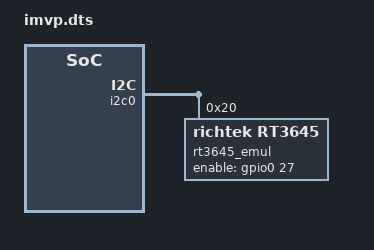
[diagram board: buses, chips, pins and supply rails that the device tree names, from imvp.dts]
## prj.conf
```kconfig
# Copyright 2026 The ChromiumOS Authors
# Use of this source code is governed by a BSD-style license that can be
# found in the LICENSE file.

CONFIG_IMVP_RT3645_CONSOLE=y
CONFIG_SHELL_BACKEND_DUMMY_BUF_SIZE=4000
```

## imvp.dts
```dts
/* Copyright 2025 The ChromiumOS Authors
 * Use of this source code is governed by a BSD-style license that can be
 * found in the LICENSE file.
 */

&i2c0 {
	rt3645_emul: richtek-imvp@20 {
		compatible = "richtek,rt3645";
		status = "okay";
		reg = <0x20>;
		enable-gpios = <&gpio0 27 GPIO_ACTIVE_HIGH>;
		update-data = <0x24 0x54 0x02 0x0D1312>;
		update-crc = <0x12>;
	};
};
```

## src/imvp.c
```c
/* Copyright 2026 The ChromiumOS Authors
 * Use of this source code is governed by a BSD-style license that can be
 * found in the LICENSE file.
 */

#include "console.h"
#include "drivers/imvp/rt3645.h"
#include "emul/emul_rt3645.h"
#include "power.h"
#include "test/drivers/test_state.h"
#include "timer.h"

#include <stdlib.h>
#include <time.h>

#include <zephyr/fff.h>
#include <zephyr/random/random.h>
#include <zephyr/shell/shell.h>
#include <zephyr/shell/shell_dummy.h>
#include <zephyr/ztest.h>

#define RT3645_PORT 0
#define RT3645_NODE DT_NODELABEL(rt3645_emul)

extern int rt3645_get_flag(int port);

const struct emul *emul = EMUL_DT_GET(RT3645_NODE);
const struct device *dev = DEVICE_DT_GET(RT3645_NODE);

void rt3645_imvp_test_reset(void *fixture);

struct rt3645_data_t {
	uint8_t cur_page;
};

#define RT3645_PAGE_MAX 0x0D

/* Generate random non-zero page number */
#define RT3645_GEN_RAND_PAGE() ((rand() % RT3645_PAGE_MAX) + 1);

/* Generate random non-zero register value */
#define RT3645_GEN_RAND_REG_VAL() ((rand() % 0xFF) + 1);
/**
 * @brief Send correct sequence to RT3645 and set it in config mode
 *
 * @retval 0 if successful, otherwise if it fails
 */
int rt3645_imvp_set_in_config_mode(void)
{
	return shell_execute_cmd(get_ec_shell(),
				 "imvp cfg_mode 0x24 0x54 0x02");
}

ZTEST(rt3645_imvp, test_product_id)
{
	uint8_t reg_val;

	rt3645_emul_read_reg(emul, PRODUCT_ID_REG, &reg_val);
	zassert_equal(reg_val, 0x45);
}

ZTEST(rt3645_imvp, test_config_mode)
{
	zassert_false(rt3645_emul_in_config_mode(emul));

	/* Setting wrong pattern length */
	zassert_ok(shell_execute_cmd(get_ec_shell(), "imvp cfg_mode 0x24 0x54"),
		   NULL);
	zassert_ok(rt3645_set_page(dev, 4));
	zassert_false(rt3645_emul_in_config_mode(emul));

	/* Setting wrong pattern */
	zassert_ok(shell_execute_cmd(get_ec_shell(),
				     "imvp cfg_mode 0x24 0x54 0x03"),
		   NULL);
	zassert_false(rt3645_emul_in_config_mode(emul));

	/* Set register to reset internal device counter */
	zassert_ok(rt3645_set_page(dev, 4));

	/* Setting correct pattern out of G3/S5 */
	power_set_state(POWER_S0);
	zassert_not_ok(rt3645_imvp_set_in_config_mode());

	/* Setting correct pattern */
	power_set_state(POWER_S5);
	zassert_ok(rt3645_imvp_set_in_config_mode());
	zassert_true(rt3645_emul_in_config_mode(emul));
}

/**
 * @brief Write registers into RT3645 page using console command
 *
 * @param  page Number of page to write registers
 * @param  regs Array holding registers value to be written into device, if set
 *              to NULL, only page number is set.
 * @param  count Number of bytes to be written, if set to 0, only page number
 *               is set.
 *
 * @retval 0 if successful, otherwise if it fails
 */
int rt3645_imvp_test_fill_page_regs(uint8_t page, uint8_t *regs, uint8_t count)
{
	int ret;
	char set_page_cmd_in[32] = { 0 };
	char set_regs_cmd_in[128] = { 0 };
	char reg_val_str_in[6] = { 0 };
	const char *set_reg_cmd = "imvp set_regs 0";
	const char *set_page_cmd = "imvp set_page 0x%X";
	const char *set_reg_cat = " 0x%X";

	sprintf(set_page_cmd_in, set_page_cmd, page);
	ret = shell_execute_cmd(get_ec_shell(), set_page_cmd_in);
	if (ret) {
		return ret;
	}

	if (regs == NULL || count == 0) {
		/* Not required to write any registers, just page */
		return 0;
	}

	strcpy(set_regs_cmd_in, set_reg_cmd);
	for (int i = 0; i < count; i++) {
		reg_val_str_in[0] = '\0';
		sprintf(reg_val_str_in, set_reg_cat, regs[i]);
		strcat(set_regs_cmd_in, reg_val_str_in);
	}

	return shell_execute_cmd(get_ec_shell(), set_regs_cmd_in);
}

ZTEST(rt3645_imvp, test_page_setting)
{
	uint8_t page_in;
	uint8_t page_out;

	zassert_ok(rt3645_imvp_set_in_config_mode());
	zassert_true(rt3645_emul_in_config_mode(emul));

	rt3645_emul_read_reg(emul, PAGE_SET_REG, &page_out);
	zassert_equal(page_out, 0);

	/* Generate random page */
	page_in = RT3645_GEN_RAND_PAGE();

	/* Attempt to change page while out of G3/S5 */
	power_set_state(POWER_S0);
	zassert_not_ok(rt3645_imvp_test_fill_page_regs(page_in, NULL, 0));
	zassert_ok(rt3645_emul_read_reg(emul, PAGE_SET_REG, &page_out));
	zassert_not_equal(page_in, page_out);

	power_set_state(POWER_G3);
	zassert_ok(rt3645_imvp_test_fill_page_regs(page_in, NULL, 0));
	zassert_ok(rt3645_emul_read_reg(emul, PAGE_SET_REG, &page_out));
	zassert_equal(page_in, page_out);
}

#define RT3654_IMVP_TEST_SET_REGS_COUNT 5

ZTEST(rt3645_imvp, test_setting_page_regs)
{
	uint8_t page_in;
	uint8_t regs_in[RT3654_IMVP_TEST_SET_REGS_COUNT];

	/* Set random page and generate random registers value */
	page_in = RT3645_GEN_RAND_PAGE();
	for (int i = 0; i < RT3654_IMVP_TEST_SET_REGS_COUNT; i++) {
		regs_in[i] = RT3645_GEN_RAND_REG_VAL();
	}

	zassert_ok(rt3645_imvp_test_fill_page_regs(
		page_in, regs_in, RT3654_IMVP_TEST_SET_REGS_COUNT));

	/* Test setting registers while not in config mode */
	for (int i = 0; i < RT3654_IMVP_TEST_SET_REGS_COUNT; i++) {
		uint8_t reg_out;

		zassert_ok(rt3645_emul_read_reg(emul, i, &reg_out));
		zassert_not_equal(reg_out, regs_in[i]);
	}

	/* Enter config mode */
	zassert_ok(rt3645_imvp_set_in_config_mode());
	zassert_true(rt3645_emul_in_config_mode(emul));
	zassert_ok(rt3645_imvp_test_fill_page_regs(
		page_in, regs_in, RT3654_IMVP_TEST_SET_REGS_COUNT));

	/* Test setting registers while in config mode */
	for (int i = 0; i < RT3654_IMVP_TEST_SET_REGS_COUNT; i++) {
		uint8_t reg_out;

		zassert_ok(rt3645_emul_read_reg(emul, i, &reg_out));
		zassert_equal(reg_out, regs_in[i]);
	}
}

ZTEST(rt3645_imvp, test_dump_regs)
{
	const char *buffer;
	size_t buffer_size;
	uint8_t page_in;
	int page = -1;
	uint8_t regs_in[RT3654_IMVP_TEST_SET_REGS_COUNT];

	/* Allow shell thread to start and get console output */
	k_msleep(10);

	/* Set random page and generate random registers value */
	page_in = RT3645_GEN_RAND_PAGE();
	for (int i = 0; i < RT3654_IMVP_TEST_SET_REGS_COUNT; i++) {
		regs_in[i] = RT3645_GEN_RAND_REG_VAL();
	}

	/* Enter config mode */
	zassert_ok(rt3645_imvp_set_in_config_mode());
	zassert_true(rt3645_emul_in_config_mode(emul));
	zassert_ok(rt3645_imvp_test_fill_page_regs(
		page_in, regs_in, RT3654_IMVP_TEST_SET_REGS_COUNT));

	/* Test out of required power state */
	power_set_state(POWER_S0);
	zassert_not_ok(shell_execute_cmd(get_ec_shell(), "imvp dump_regs"));
	buffer = shell_backend_dummy_get_output(get_ec_shell(), &buffer_size);
	zassert_not_null(strstr(
		buffer, "To access paged registers put system on G3/S5"));

	power_set_state(POWER_G3);
	zassert_ok(shell_execute_cmd(get_ec_shell(), "imvp dump_regs"));
	buffer = shell_backend_dummy_get_output(get_ec_shell(), &buffer_size);
	zassert_is_null(strstr(
		buffer, "To access paged registers put system on G3/S5"));

	/* Test page number */
	buffer = strstr(buffer, "Page: 0x");
	sscanf(buffer, "Page: 0x%X", &page);
	zassert_equal(page_in, page);

	for (int i = 0; i < RT3654_IMVP_TEST_SET_REGS_COUNT; i++) {
		char pattern[32];
		int reg_out;

		zassert_not_equal(sprintf(pattern, "[%02Xh]", i), 0);
		buffer = strstr(buffer, pattern);
		zassert_not_null(buffer);
		sscanf(buffer, "[%*02Xh] = 0x%02X", &reg_out);
		zassert_equal(regs_in[i], reg_out);
	}
}

uint8_t g_page_in;
uint8_t g_regs_in[RT3654_IMVP_TEST_SET_REGS_COUNT];

ZTEST(rt3645_imvp, test_store_load_reg_0)
{
	/* Set random page and generate random registers value */
	g_page_in = RT3645_GEN_RAND_PAGE();
	for (int i = 0; i < RT3654_IMVP_TEST_SET_REGS_COUNT; i++) {
		g_regs_in[i] = RT3645_GEN_RAND_REG_VAL();
	}

	zassert_ok(rt3645_imvp_set_in_config_mode());
	zassert_true(rt3645_emul_in_config_mode(emul));
	zassert_ok(rt3645_imvp_test_fill_page_regs(
		g_page_in, g_regs_in, RT3654_IMVP_TEST_SET_REGS_COUNT));

	power_set_state(POWER_S0);
	zassert_not_ok(shell_execute_cmd(get_ec_shell(), "imvp store_cfg"));
	power_set_state(POWER_S5);
	zassert_ok(shell_execute_cmd(get_ec_shell(), "imvp store_cfg"));
}

ZTEST(rt3645_imvp, test_store_load_reg_1)
{
	uint8_t regs_in[RT3654_IMVP_TEST_SET_REGS_COUNT];

	/* Set random page and generate random registers value */
	for (int i = 0; i < RT3654_IMVP_TEST_SET_REGS_COUNT; i++) {
		regs_in[i] = RT3645_GEN_RAND_REG_VAL();
	}

	zassert_ok(rt3645_imvp_set_in_config_mode());
	zassert_true(rt3645_emul_in_config_mode(emul));

	/* Set new set of registers */
	zassert_ok(rt3645_imvp_test_fill_page_regs(
		g_page_in, regs_in, RT3654_IMVP_TEST_SET_REGS_COUNT));

	/* Load earlier registers setting */
	zassert_ok(shell_execute_cmd(get_ec_shell(), "imvp load_cfg"));

	/* Ensure paged registers value is same as earlier */
	for (int i = 0; i < RT3654_IMVP_TEST_SET_REGS_COUNT; i++) {
		uint8_t reg_out;

		zassert_ok(rt3645_read_reg(dev, i, &reg_out));
		zassert_equal(reg_out, g_regs_in[i]);
	}
}

ZTEST(rt3645_imvp, test_error_paths_direct)
{
	/* Test direct API calls failing when power state is S0 */
	power_set_state(POWER_S0);

	zassert_equal(rt3645_set_page(dev, 0), -EINVAL);
	zassert_equal(rt3645_load_config(dev), -EINVAL);
	zassert_equal(rt3645_store_config(dev), -EINVAL);
}

ZTEST(rt3645_imvp, test_error_paths_shell)
{
	const char *buffer;
	size_t buffer_size;

	/* Reset emulator and page state */
	power_set_state(POWER_G3);

	/* 1. Page out of range */
	zassert_not_ok(shell_execute_cmd(get_ec_shell(), "imvp set_page 0x0E"));
	buffer = shell_backend_dummy_get_output(get_ec_shell(), &buffer_size);
	zassert_not_null(strstr(buffer, "Page number out of range"));

	/* 2. No active page set for dump */
	zassert_ok(shell_execute_cmd(get_ec_shell(), "imvp dump_regs"));
	buffer = shell_backend_dummy_get_output(get_ec_shell(), &buffer_size);
	zassert_not_null(strstr(buffer, "No active page set"));

	/* 3. No active page set for set_regs */
	zassert_not_ok(shell_execute_cmd(get_ec_shell(), "imvp set_regs 0 1"));
	buffer = shell_backend_dummy_get_output(get_ec_shell(), &buffer_size);
	zassert_not_null(strstr(buffer, "Not active page set"));

	/* 4. Set regs while S0 (shell command check) */
	/* We need to set page first in G3 */
	zassert_ok(shell_execute_cmd(get_ec_shell(), "imvp set_page 0"));
	power_set_state(POWER_S0);
	zassert_not_ok(shell_execute_cmd(get_ec_shell(), "imvp set_regs 0 1"));
	buffer = shell_backend_dummy_get_output(get_ec_shell(), &buffer_size);
	zassert_not_null(strstr(
		buffer, "Can not change regsiters while higher than S5"));

	/* 5. Load/Store config while S0 (shell command check) */
	zassert_not_ok(shell_execute_cmd(get_ec_shell(), "imvp load_cfg"));
	zassert_not_ok(shell_execute_cmd(get_ec_shell(), "imvp store_cfg"));
}

ZTEST(rt3645_imvp, test_last_page_dump)
{
	const char *buffer;
	size_t buffer_size;
	uint8_t crc_val = 0x55;

	power_set_state(POWER_G3);
	zassert_ok(rt3645_imvp_set_in_config_mode());

	/* Write some value to CRC reg on last page */
	zassert_ok(rt3645_set_page(dev, RT3645_PAGE_D));
	zassert_ok(rt3645_write_reg(dev, CRC_REG, crc_val));

	/* Dump regs and verify CRC reg is shown */
	zassert_ok(shell_execute_cmd(get_ec_shell(), "imvp dump_regs"));
	buffer = shell_backend_dummy_get_output(get_ec_shell(), &buffer_size);
	static char local_buf[4096];
	zassert_true(buffer_size < sizeof(local_buf));
	memcpy(local_buf, buffer, buffer_size);
	local_buf[buffer_size] = '\0';

	char pattern[32];
	sprintf(pattern, "[%02Xh] = 0x%02X", CRC_REG, crc_val);
	zassert_not_null(strstr(local_buf, pattern));
}

ZTEST(rt3645_imvp, test_set_regs_skip)
{
	uint8_t reg_val;

	power_set_state(POWER_G3);
	zassert_ok(rt3645_imvp_set_in_config_mode());
	zassert_ok(rt3645_set_page(dev, 0));

	/* Write initial values */
	zassert_ok(rt3645_write_reg(dev, 0, 0x10));
	zassert_ok(rt3645_write_reg(dev, 1, 0x20));
	zassert_ok(rt3645_write_reg(dev, 2, 0x30));

	/* Use set_regs to write to 0 and 2, skipping 1 */
	zassert_ok(shell_execute_cmd(get_ec_shell(),
				     "imvp set_regs 0 0x11 - 0x33"));

	/* Verify values */
	zassert_ok(rt3645_read_reg(dev, 0, &reg_val));
	zassert_equal(reg_val, 0x11);
	zassert_ok(rt3645_read_reg(dev, 1, &reg_val));
	zassert_equal(reg_val, 0x20); /* should be unchanged */
	zassert_ok(rt3645_read_reg(dev, 2, &reg_val));
	zassert_equal(reg_val, 0x33);
}

ZTEST(rt3645_imvp, test_update_flow)
{
	uint8_t crc_val;

	/* Initially, CRC should not match (it is 0) */
	power_set_state(POWER_G3);
	zassert_ok(rt3645_set_page(dev, RT3645_PAGE_D));
	zassert_ok(rt3645_emul_read_reg(emul, CRC_REG, &crc_val));
	zassert_not_equal(crc_val, 0x12);

	/* Trigger update via shell */
	zassert_ok(shell_execute_cmd(get_ec_shell(), "imvp update"));

	/* After update, CRC should be 0x12 */
	zassert_true(chipset_in_state(CHIPSET_STATE_ANY_OFF));

	zassert_ok(rt3645_set_page(dev, RT3645_PAGE_D));
	zassert_ok(rt3645_emul_read_reg(emul, CRC_REG, &crc_val));
	zassert_equal(crc_val, 0x12);
}

ZTEST(rt3645_imvp, test_update_no_need)
{
	uint8_t crc_val;

	power_set_state(POWER_G3);
	/* Set emulator CRC to expected CRC initially */
	zassert_ok(rt3645_imvp_set_in_config_mode());
	zassert_ok(rt3645_set_page(dev, RT3645_PAGE_D));
	zassert_ok(rt3645_write_reg(dev, CRC_REG, 0x12));

	/* Trigger update via shell */
	zassert_ok(shell_execute_cmd(get_ec_shell(), "imvp update"));

	/* It should succeed, and CRC should still be 0x12 */
	zassert_ok(rt3645_set_page(dev, RT3645_PAGE_D));
	zassert_ok(rt3645_emul_read_reg(emul, CRC_REG, &crc_val));
	zassert_equal(crc_val, 0x12);
}

ZTEST(rt3645_imvp, test_update_wrong_product_id)
{
	uint8_t crc_val;

	power_set_state(POWER_G3);
	/* Set wrong product ID in emulator */
	rt3645_emul_set_product_id(emul, 0x00);

	/* Set CRC to 0 to ensure it is not updated */
	zassert_ok(rt3645_imvp_set_in_config_mode());
	zassert_ok(rt3645_set_page(dev, RT3645_PAGE_D));
	zassert_ok(rt3645_write_reg(dev, CRC_REG, 0x00));

	/* Trigger update via shell */
	zassert_ok(shell_execute_cmd(get_ec_shell(), "imvp update"));

	/* It should fail, and CRC should still be 0x00 */
	zassert_ok(rt3645_set_page(dev, RT3645_PAGE_D));
	zassert_ok(rt3645_emul_read_reg(emul, CRC_REG, &crc_val));
	zassert_equal(crc_val, 0x00);
}

ZTEST(rt3645_imvp, test_update_nvm_prog_fail)
{
	uint8_t crc_val;

	power_set_state(POWER_G3);
	/* Set nvm_stat to 0xA0 (bit 6 is 0) to fail programming check */
	rt3645_emul_set_nvm_stat(emul, 0xA0);

	/* Set CRC to 0 to ensure it is not updated/committed */
	zassert_ok(rt3645_imvp_set_in_config_mode());
	zassert_ok(rt3645_set_page(dev, RT3645_PAGE_D));
	zassert_ok(rt3645_write_reg(dev, CRC_REG, 0x00));

	/* Trigger update via shell */
	zassert_ok(shell_execute_cmd(get_ec_shell(), "imvp update"));

	/* It should fail. CRC is written to emul regs before failure, so it
	 * will be 0x12 */
	zassert_ok(rt3645_set_page(dev, RT3645_PAGE_D));
	zassert_ok(rt3645_emul_read_reg(emul, CRC_REG, &crc_val));
	zassert_equal(crc_val, 0x12);
}

ZTEST(rt3645_imvp, test_update_nvm_reload_fail)
{
	uint8_t crc_val;

	power_set_state(POWER_G3);
	/* Set nvm_stat to 0xC0 (bit 7,6 are 1, but not 0xE0) to fail reload
	 * check */
	rt3645_emul_set_nvm_stat(emul, 0xC0);

	/* Set CRC to 0 to ensure it is not updated/committed */
	zassert_ok(rt3645_imvp_set_in_config_mode());
	zassert_ok(rt3645_set_page(dev, RT3645_PAGE_D));
	zassert_ok(rt3645_write_reg(dev, CRC_REG, 0x00));

	/* Trigger update via shell */
	zassert_ok(shell_execute_cmd(get_ec_shell(), "imvp update"));

	/* It should fail. CRC is written to emul regs before failure, so it
	 * will be 0x12 */
	zassert_ok(rt3645_set_page(dev, RT3645_PAGE_D));
	zassert_ok(rt3645_emul_read_reg(emul, CRC_REG, &crc_val));
	zassert_equal(crc_val, 0x12);
}

void rt3645_imvp_test_reset(void *fixture)
{
	struct rt3645_data_t *data = dev->data;

	srand(time(NULL));
	rt3645_emul_reset_regs(emul);
	data->cur_page = 0xFF;
}

ZTEST_SUITE(rt3645_imvp, drivers_predicate_pre_main, NULL,
	    rt3645_imvp_test_reset, NULL, NULL);
```
